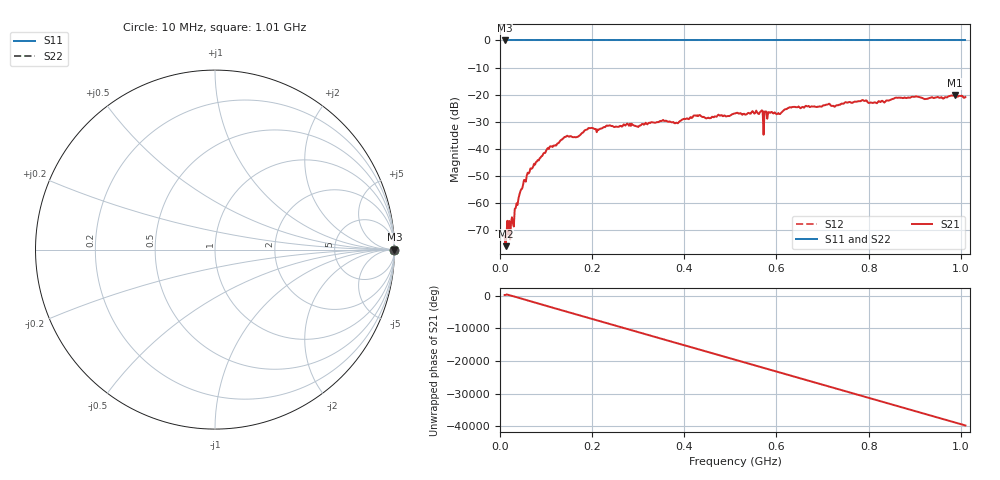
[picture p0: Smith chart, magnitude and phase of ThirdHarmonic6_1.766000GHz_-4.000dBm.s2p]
! 8/16/2025 9:19:23 PM
! C:\ANRITSUVNA\TEMP\TEMP.S2P
! CHANNEL.1
! TR.MEASUREMENT
! RAW.DATA
! RF.CORRECTION.OFF
! AVERAGING.OFF
! IF.BANDWIDTH: 5KHZ
! SWEEPTYPE:  FREQ.SWEEP(Linear)
! Reference Plane Port Info
! PORT:  PORT1  PORT2
! DISTANCE:  0  m  0  m
! TIME:  0  s  0  s
! PHASE.OFFSET:  0  deg.  0  deg.
! LOSS:  0  dB  0  dB
! REF.LOSS:  0  dB  0  dB
! REF.FREQ:  0  Hz  0  Hz
! Power Info
! POWER:  -20  dBm  -20  dBm
! EFF.POWER:  -20  dBm  -20  dBm
! SOURCE.ATTEN:  0  dB  0  dB
! TEST.ATTEN:  0  dB  0  dB
# GHZ S RI R 50.0
! FREQ.GHZ  S11RE  S11IM  S21RE  S21IM  S12RE  S12IM  S22RE  S22IM
!; PortSelection: Port_12
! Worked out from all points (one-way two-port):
!   501 points, 10 MHz to 1.01 GHz, reference 50 ohm
!   highest |S21| = -20.21 dB at 988 MHz (marker M1); lowest = -75.9 dB at 12 MHz (marker M2)
!   lowest |S11| = 0.0 dB at 10 MHz (marker M3)
!   |S11| at or under -10 dB: nowhere
!   |S22| runs from 0.0 to 0.0 dB; largest |S21 - S12| = 1.1
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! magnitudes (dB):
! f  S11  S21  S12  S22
! 10 MHz  0.0  -72.2  0.0  0.0
! 12 MHz  0.0  -75.9  0.0  0.0
! 26 MHz  0.0  -65.2  0.0  0.0
! 36 MHz  0.0  -60.0  0.0  0.0
! 48 MHz  0.0  -54.7  0.0  0.0
! 70 MHz  0.0  -47.1  0.0  0.0
! 106 MHz  0.0  -40.0  0.0  0.0
! 142 MHz  0.0  -35.6  0.0  0.0
! 178 MHz  0.0  -34.1  0.0  0.0
! 196 MHz  0.0  -32.3  0.0  0.0
! 344 MHz  0.0  -30.1  0.0  0.0
! 382 MHz  0.0  -30.3  0.0  0.0
! 510 MHz  0.0  -26.9  0.0  0.0
! 566 MHz  0.0  -26.2  0.0  0.0
! 576 MHz  0.0  -26.2  0.0  0.0
! 578 MHz  0.0  -26.3  0.0  0.0
! 604 MHz  0.0  -26.8  0.0  0.0
! 630 MHz  0.0  -24.6  0.0  0.0
! 678 MHz  0.0  -24.4  0.0  0.0
! 844 MHz  0.0  -22.1  0.0  0.0
! 988 MHz  0.0  -20.2  0.0  0.0
! 1.01 GHz  0.0  -20.9  0.0  0.0
